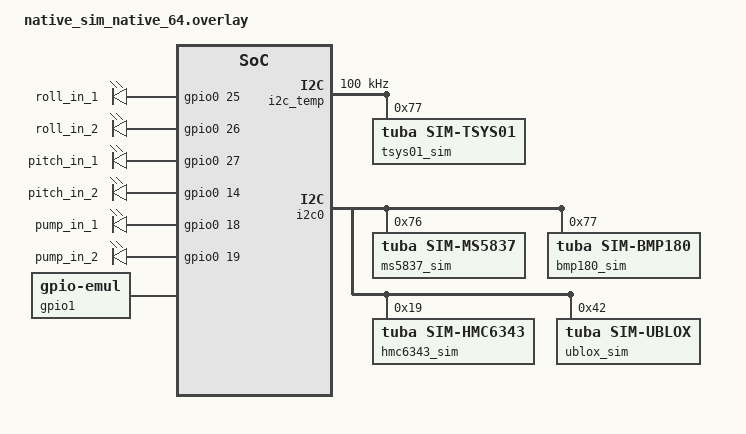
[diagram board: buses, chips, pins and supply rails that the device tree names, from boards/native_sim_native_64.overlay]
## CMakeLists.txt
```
# Tuba underwater glider firmware — Zephyr application build
#
# Build (with MCUboot, from the repo root):
#   west build --sysbuild --board=esp32_devkitc/esp32/procpu
# or use ./build.sh, which also bumps the build number in include/version.h.

cmake_minimum_required(VERSION 3.20.0)
find_package(Zephyr REQUIRED HINTS $ENV{ZEPHYR_BASE})
project(tuba)

# Float args are promoted to double in app_printk(...) calls everywhere;
# the warning adds noise without value here. Must come after find_package.
zephyr_compile_options(-Wno-double-promotion)

target_sources(app PRIVATE
  # Core application
  src/main.c              # boot, WiFi AP + telnet server, state machine loop
  src/ui_menu.c           # menu system: per-state entry/event/line handlers
  src/deploy.c            # mission execution (deploy + simulate) + safety envelope
  src/dive_log.c          # Seaglider-style structured dive records ($STATE/$GC/$D)
  # Infrastructure
  src/app_print.c         # console output mirroring (UART + WiFi clients)
  src/app_params.c        # persistent mission parameters (NVS)
  src/app_time.c          # UTC wall clock (build-date default, GPS-synced)
  src/net_console.c       # WiFi console backend + input-mode switch
  src/sensors.c           # expected-sensor registry + I2C scan report
  # Hardware drivers
  src/hw_motors.c         # pitch/roll mass motors (H-bridge GPIO)
  src/hw_pump.c           # variable-buoyancy pump
  src/hw_limit_switches.c # pitch travel limit switches
  src/hw_ms5837.c         # external (water) pressure + temperature
  src/hw_bmp180.c         # internal (hull) pressure
  src/hw_tsys01.c         # water temperature (Blue Robotics Celsius)
  src/hw_hmc6343.c        # tilt-compensated compass
  src/hw_gps.c            # u-blox GPS over I2C (DDC)
  src/hw_leak.c           # leak detector (ADC)
)

target_include_directories(app PRIVATE include)

if(CONFIG_BOARD_NATIVE_SIM)
  # Software-in-the-loop build (prj_sil.conf, boards/native_sim.overlay):
  # the hardware drivers above run unchanged against Zephyr's emulated
  # GPIO/I2C/ADC, and src/sil/ connects those emulators to the Gazebo
  # bridge over UDP. See SIL.md.
  target_sources(app PRIVATE
    src/sil/sil_state.c        # latest simulated sensor values
    src/sil/sil_link.c         # UDP link: H-bridge pins out, sensor values in
    src/sil/sil_emul_ms5837.c  # emulated I2C sensors ...
    src/sil/sil_emul_bmp180.c
    src/sil/sil_emul_hmc6343.c
    src/sil/sil_emul_tsys01.c
    src/sil/sil_emul_ublox.c
    src/sil/ota_stub.c         # OTA menu entry: not available in the simulator
    src/sil/sil_console.c      # printk straight to the terminal (menu prompts, 'q' keys)
  )
  target_include_directories(app PRIVATE src/sil)
  # The host glibc hides strnlen() & co. behind feature macros under -std=c11.
  target_compile_definitions(app PRIVATE _POSIX_C_SOURCE=200809L)
  # Xtensa (ESP32) has unsigned char; x86 has signed char. With a signed
  # char, cbprintf's output callback returns a negative value for the first
  # byte of any UTF-8 character (e.g. the em dashes in our messages) and
  # drops the rest of the line. Match the target's semantics.
  zephyr_compile_options(-funsigned-char)
else()
  target_sources(app PRIVATE
    src/ota_simple.c        # OTA firmware download into MCUboot slot1
  )
endif()

# Force-include prototypes for app_printk so all sources see it
target_compile_options(app PRIVATE -include app_print.h)
```

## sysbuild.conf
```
# Build MCUboot alongside the application
SB_CONFIG_BOOTLOADER_MCUBOOT=y
```

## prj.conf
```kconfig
# prj.conf — Tuba glider firmware configuration
#
# Field access:
#   Serial:  screen /dev/ttyUSB0 9600   (or minicom -D /dev/ttyUSB0 -b 9600)
#   WiFi:    join AP "Tuba-Glider", then: telnet 192.168.4.1 23
#
# Power-up behavior:
#   Press ENTER within the startup window (STARTUP_TIMEOUT_SEC in
#   app_limits.h, currently 600 s) to get the menu; otherwise the glider
#   auto-enters DEPLOYED and starts a mission.

# ===== CONSOLE =====
# UART0 console via USB bridge at 9600 baud (set in the board overlay;
# 9600 tolerates long/noisy cable runs into the hull).
CONFIG_SERIAL=y
CONFIG_CONSOLE=y
CONFIG_PRINTK=y
CONFIG_UART_CONSOLE=y

# ===== WIFI ACCESS POINT ("Tuba-Glider") =====
CONFIG_NETWORKING=y
CONFIG_WIFI=y
CONFIG_WIFI_USAGE_MODE_AP=y
CONFIG_NET_L2_WIFI_MGMT=y
CONFIG_NET_SOCKETS=y
CONFIG_NET_L2_ETHERNET=y
CONFIG_NET_IPV4=y
CONFIG_NET_UDP=y
CONFIG_NET_TCP=y
CONFIG_NET_DHCPV4=y
# DHCPv4 SERVER: hand out IPs to clients that join the AP (required for telnet)
CONFIG_NET_DHCPV4_SERVER=y
CONFIG_NET_ARP=y
# TCP keepalive: lets the telnet server detect a client whose link vanished
# (antenna dipped under water) in ~25 s instead of waiting out TCP's default
# retransmit timeout. Tuned per-socket in src/main.c.
CONFIG_NET_TCP_KEEPALIVE=y
# poll() set for the telnet server: 1 listening socket + NET_CONSOLE_MAX_CLIENTS.
CONFIG_NET_SOCKETS_POLL_MAX=8
CONFIG_HEAP_MEM_POOL_SIZE=65536
# DHCP server + net mgmt callbacks run on the system workqueue; the 1K default
# overflows when a client requests a lease (sysworkq stack overflow). Bump it.
CONFIG_SYSTEM_WORKQUEUE_STACK_SIZE=4096
# DHCP server receives/processes leases on the socket-service thread. Zephyr's
# 2400 default (ARM-tuned) overflows on Xtensa/ESP32 -> net_socket_service crash.
CONFIG_NET_SOCKETS_SERVICE_STACK_SIZE=4096

# WiFi power management - DISABLE to prevent AP mode issues
CONFIG_PM=n

# ===== LOGGING / DIAGNOSTICS =====
CONFIG_LOG=y
CONFIG_LOG_MODE_MINIMAL=y
CONFIG_SHELL=n
CONFIG_ASSERT=y
CONFIG_STDOUT_CONSOLE=y
# Thread/stack diagnostics (names in fault dumps, stack canaries)
CONFIG_THREAD_NAME=y
CONFIG_STACK_SENTINEL=y

# ===== SENSOR BUS =====
CONFIG_I2C=y
CONFIG_I2C_ESP32=y
CONFIG_SENSOR=y
# ADC for the leak detector (GPIO34 = ADC1 CH6)
CONFIG_ADC=y
# MS5837/TSYS01/BMP180/HMC6343/GPS all use custom register-level drivers in
# src/hw_*.c, not Zephyr sensor drivers (finer control over the flaky ESP32
# I2C controller and sensor quirks).

# Float formatting for printk (depth/temperature output)
CONFIG_CBPRINTF_FP_SUPPORT=y
CONFIG_MAIN_STACK_SIZE=3072

# ===== PARAMETER PERSISTENCE (NVS via settings) =====
CONFIG_FLASH=y
CONFIG_FLASH_MAP=y
CONFIG_FLASH_PAGE_LAYOUT=y
CONFIG_MPU_ALLOW_FLASH_WRITE=y
CONFIG_CRC=y
CONFIG_NVS=y
CONFIG_SETTINGS=y
CONFIG_SETTINGS_NVS=y

# ===== OVER-THE-AIR (OTA) UPDATE =====
# Socket-based HTTP download into MCUboot slot1 (see src/ota_simple.c)
CONFIG_HTTP_CLIENT=y
CONFIG_BOOTLOADER_MCUBOOT=y
CONFIG_IMG_MANAGER=y
CONFIG_MCUBOOT_IMG_MANAGER=y
CONFIG_STREAM_FLASH=y
```

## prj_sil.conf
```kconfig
# prj_sil.conf — Tuba firmware as a Linux process (software-in-the-loop)
#
# Build:  ./sil_build.sh        (west build -b native_sim/native/64 -- -DCONF_FILE=prj_sil.conf)
# Run:    ./sil_run.sh          (with Gazebo + tuba-sim/bridge running)
#
# Everything the ESP32 build has except WiFi/OTA/MCUboot; the hardware is
# replaced by Zephyr's emulated GPIO/I2C/ADC, driven from Gazebo through
# src/sil/ (see SIL.md). The menu runs on the terminal that starts the
# executable.

# ===== CONSOLE (terminal stdin/stdout) =====
CONFIG_SERIAL=y
CONFIG_CONSOLE=y
CONFIG_PRINTK=y
CONFIG_UART_CONSOLE=y
CONFIG_UART_NATIVE_PTY=y
CONFIG_UART_NATIVE_PTY_0_ON_STDINOUT=y
# native_sim hard-selects the line-buffered POSIX trace console; src/sil/
# sil_console.c re-points printk at the UART so prompts show immediately.
CONFIG_CBPRINTF_FP_SUPPORT=y

# ===== LOGGING / DIAGNOSTICS =====
CONFIG_LOG=y
CONFIG_LOG_MODE_MINIMAL=y
CONFIG_SHELL=n
CONFIG_ASSERT=y
CONFIG_THREAD_NAME=y
CONFIG_MAIN_STACK_SIZE=8192

# ===== EMULATED HARDWARE =====
CONFIG_EMUL=y
CONFIG_GPIO=y
CONFIG_GPIO_EMUL=y
CONFIG_I2C=y
CONFIG_I2C_EMUL=y
CONFIG_ADC=y
CONFIG_ADC_EMUL=y
CONFIG_ENTROPY_GENERATOR=y
CONFIG_TEST_RANDOM_GENERATOR=y

# ===== PARAMETER PERSISTENCE (NVS on the simulated flash) =====
# Pass --flash=<file> to the executable to keep parameters between runs.
CONFIG_FLASH=y
CONFIG_FLASH_SIMULATOR=y
CONFIG_FLASH_MAP=y
CONFIG_FLASH_PAGE_LAYOUT=y
CONFIG_CRC=y
CONFIG_NVS=y
CONFIG_SETTINGS=y
CONFIG_SETTINGS_NVS=y

# ===== SIM LINK: host UDP sockets through the native-simulator offload =====
CONFIG_NETWORKING=y
CONFIG_NET_IPV4=y
CONFIG_NET_IPV6=n
CONFIG_NET_DRIVERS=y
CONFIG_ETH_NATIVE_TAP=n
CONFIG_NET_SOCKETS=y
CONFIG_NET_SOCKETS_OFFLOAD=y
CONFIG_NET_NATIVE_OFFLOADED_SOCKETS=y
CONFIG_HEAP_MEM_POOL_SIZE=16384
```

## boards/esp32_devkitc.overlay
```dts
/
{
    aliases {
        roll_in1 = &roll_in1;
        roll_in2 = &roll_in2;
        pitch_in1 = &pitch_in1;
        pitch_in2 = &pitch_in2;
        pump_in1 = &pump_in1;
        pump_in2 = &pump_in2;
    };

    /* Motor H-bridge control pins (adjust to your wiring) */
    roll_in1: roll_in1 {
        gpios = <&gpio 25 GPIO_ACTIVE_HIGH>;
    };
    roll_in2: roll_in2 {
        gpios = <&gpio 26 GPIO_ACTIVE_HIGH>;
    };
    pitch_in1: pitch_in1 {
        gpios = <&gpio 27 GPIO_ACTIVE_HIGH>;
    };
    pitch_in2: pitch_in2 {
        gpios = <&gpio 14 GPIO_ACTIVE_HIGH>;
    };

    /* Pump control pins (adjust to your wiring) */
    pump_in1: pump_in1 {
        gpios = <&gpio 33 GPIO_ACTIVE_HIGH>;
    };
    pump_in2: pump_in2 {
        gpios = <&gpio 32 GPIO_ACTIVE_HIGH>;
    };
};
```

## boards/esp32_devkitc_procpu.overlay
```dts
/ {
	chosen {
		zephyr,console = &uart0;
		zephyr,shell-uart = &uart0;
	};

	aliases {
		/* Motors - GPIO control (hyphens in DTS, converted to underscores in C via DT_ALIAS) */
		roll-in-1 = &roll_in_1;
		roll-in-2 = &roll_in_2;
		pitch-in-1 = &pitch_in_1;
		pitch-in-2 = &pitch_in_2;
		pump-in-1 = &pump_in_1;
		pump-in-2 = &pump_in_2;
		i2c0 = &i2c0;
	};
};

/* ===== UART CONFIGURATION ===== */

/* UART0: USB bridge console (TX=GPIO1, RX=GPIO3) - 9600 baud for long cable runs */
&uart0 {
	status = "okay";
	current-speed = <9600>;
};

/* UART1: Avoid using GPIO9/10 (SPI flash pins) */
&uart1 {
	status = "disabled";
};

/* UART2: disabled — GPS is read over I2C (DDC) and the old console-mirror
   code is gone, so it is unused. */
&uart2 {
	status = "disabled";
};

/* ===== I2C CONFIGURATION ===== */
/* I2C0 on GPIO21(SDA)/GPIO22(SCL): main sensor bus
   (MS5837 @0x76, BMP180 @0x77, HMC6343 @0x19, u-blox GPS @0x42) */
&i2c0 {
	status = "okay";
	clock-frequency = <100000>; /* 100kHz */
	ms5837_0: ms5837@76 {
		compatible = "meas,ms5837";
		reg = <0x76>;
		status = "okay";
	};
};

/* I2C1 (the SoC's second HARDWARE I2C controller): left disabled.
   GPIO16/17 (its natural pins) are marked gpio-reserved-ranges in Zephyr's
   own SoC devicetree for this board (alongside 6-11, 20, 24, 28-31) — the
   selected SoC variant assumes a WROVER-E module with PSRAM wired to
   those exact pins. Using them for anything else is a real resource
   conflict, not a timing issue: the GPIO framework itself rejects them
   ("Unsupported pin" assertion) the moment a driver tries to configure
   GPIO16/17 as plain GPIOs. The water-temperature bus below uses
   different, unreserved pins instead. */
&i2c1 {
	status = "disabled";
};

/* Water-temperature bus: software (bit-banged) I2C on GPIO4(SDA)/
   GPIO13(SCL) — free, non-reserved, non-strapping pins — driven as plain
   GPIOs by Zephyr's generic "gpio-i2c" driver rather than the SoC's
   second hardware I2C peripheral (see note above for why i2c1/GPIO16-17
   are off the table). The TSYS01 (Blue Robotics Celsius) lives on its own
   bus because its address (0x77) collides with the BMP180 on i2c0.
   Internal pull-ups are enabled; add external 4.7k pull-ups to 3.3V for
   long/wet cable runs. */
/ {
	i2c_temp: i2c-gpio-temp {
		compatible = "gpio-i2c";
		status = "okay";
		#address-cells = <1>;
		#size-cells = <0>;
		clock-frequency = <100000>; /* 100kHz */
		sda-gpios = <&gpio0 4 (GPIO_OPEN_DRAIN | GPIO_PULL_UP)>;
		scl-gpios = <&gpio0 13 (GPIO_OPEN_DRAIN | GPIO_PULL_UP)>;
	};
};

&gpio0 {
	status = "okay";
};


/* ===== GPIO Motor Control Pins ===== */

/ {
	motor_gpios: motor-gpios {
		compatible = "gpio-leds";

		roll_in_1: roll-in-1 {
			gpios = <&gpio0 25 GPIO_ACTIVE_HIGH>;
		};
		roll_in_2: roll-in-2 {
			gpios = <&gpio0 26 GPIO_ACTIVE_HIGH>;
		};
		pitch_in_1: pitch-in-1 {
			gpios = <&gpio0 27 GPIO_ACTIVE_HIGH>;
		};
		pitch_in_2: pitch-in-2 {
			gpios = <&gpio0 14 GPIO_ACTIVE_HIGH>;
		};
		pump_in_1: pump-in-1 {
			gpios = <&gpio0 18 GPIO_ACTIVE_HIGH>;
		};
		pump_in_2: pump-in-2 {
			gpios = <&gpio0 19 GPIO_ACTIVE_HIGH>;
		};
	};
};

/* ===== WiFi Configuration ===== */

&wifi {
	status = "okay";
};

/* ===== ADC for leak detector ===== */
/* adc0 = ESP32 ADC unit 1 (GPIO32-39); safe with WiFi active.
 * Connect leak sensor signal to GPIO34 (ADC1 CH6). */
&adc0 {
	status = "okay";
};
```

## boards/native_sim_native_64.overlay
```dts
/*
 * native_sim.overlay — Tuba firmware as a Linux process (software-in-the-loop)
 *
 * Mirrors the ESP32 board overlay onto Zephyr's emulated peripherals so
 * that every hw_*.c driver compiles and runs UNCHANGED:
 *
 *   motor H-bridge pins  -> gpio0 (zephyr,gpio-emul), same pin numbers
 *   pitch limit switches -> gpio1 pins 0/1 (hw_limit_switches.c expects gpio1)
 *   i2c0 sensors         -> zephyr,i2c-emul-controller + src/sil emulators
 *   i2c_temp (TSYS01)    -> a second emulated I2C controller
 *   leak detector ADC    -> adc0 (zephyr,adc-emul) channel 6, 1.1 V reference
 *
 * src/sil/sil_link.c reads the emulated outputs and drives the emulated
 * inputs from the Gazebo bridge.
 */
#include <zephyr/dt-bindings/i2c/i2c.h>
#include <zephyr/dt-bindings/gpio/gpio.h>

/ {
	chosen {
		zephyr,console = &uart0;
		zephyr,shell-uart = &uart0;
	};

	aliases {
		roll-in-1 = &roll_in_1;
		roll-in-2 = &roll_in_2;
		pitch-in-1 = &pitch_in_1;
		pitch-in-2 = &pitch_in_2;
		pump-in-1 = &pump_in_1;
		pump-in-2 = &pump_in_2;
		i2c0 = &i2c0;
	};

	/* Same GPIO numbers as the ESP32 (GPIO25/26 roll, 27/14 pitch, 18/19 pump). */
	motor_gpios: motor-gpios {
		compatible = "gpio-leds";
		roll_in_1: roll-in-1 { gpios = <&gpio0 25 GPIO_ACTIVE_HIGH>; };
		roll_in_2: roll-in-2 { gpios = <&gpio0 26 GPIO_ACTIVE_HIGH>; };
		pitch_in_1: pitch-in-1 { gpios = <&gpio0 27 GPIO_ACTIVE_HIGH>; };
		pitch_in_2: pitch-in-2 { gpios = <&gpio0 14 GPIO_ACTIVE_HIGH>; };
		pump_in_1: pump-in-1 { gpios = <&gpio0 18 GPIO_ACTIVE_HIGH>; };
		pump_in_2: pump-in-2 { gpios = <&gpio0 19 GPIO_ACTIVE_HIGH>; };
	};

	/* ESP32 "gpio1" port (GPIO32-39): the limit switches are pins 0 and 1. */
	gpio1: gpio_emul_1 {
		status = "okay";
		compatible = "zephyr,gpio-emul";
		rising-edge;
		falling-edge;
		high-level;
		low-level;
		gpio-controller;
		ngpios = <8>;
		#gpio-cells = <2>;
	};

	/* Water-temperature bus (bit-banged GPIO4/13 on the ESP32). */
	i2c_temp: i2c@900 {
		status = "okay";
		compatible = "zephyr,i2c-emul-controller";
		clock-frequency = <I2C_BITRATE_STANDARD>;
		#address-cells = <1>;
		#size-cells = <0>;
		#forward-cells = <1>;
		reg = <0x900 4>;

		tsys01_sim: tsys01@77 {
			compatible = "tuba,sim-tsys01";
			reg = <0x77>;
			status = "okay";
		};
	};
};

&gpio0 {
	ngpios = <32>;
};

/* Main sensor bus: MS5837 @0x76, BMP180 @0x77, HMC6343 @0x19, u-blox @0x42 */
&i2c0 {
	status = "okay";

	ms5837_sim: ms5837@76 {
		compatible = "tuba,sim-ms5837";
		reg = <0x76>;
		status = "okay";
	};
	bmp180_sim: bmp180@77 {
		compatible = "tuba,sim-bmp180";
		reg = <0x77>;
		status = "okay";
	};
	hmc6343_sim: hmc6343@19 {
		compatible = "tuba,sim-hmc6343";
		reg = <0x19>;
		status = "okay";
	};
	ublox_sim: gps@42 {
		compatible = "tuba,sim-ublox";
		reg = <0x42>;
		status = "okay";
	};
};

/* hw_leak.c: channel 6, ADC_REF_INTERNAL = 1100 mV, gain 1/4, 12 bit */
&adc0 {
	nchannels = <8>;
	ref-internal-mv = <1100>;
};
```

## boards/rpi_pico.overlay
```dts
/ {
	chosen {
		/* ===== CONSOLE OUTPUT SELECTION ===== */
		
		/* Option 1: USB CDC ACM console (default for Pico/Pico W) */
		 zephyr,console    = &cdc_acm_uart; 
		 zephyr,shell-uart = &cdc_acm_uart;
		
		/* Option 2: UART0 console via MAX3232 (uncomment to use) */
		/* zephyr,console    = &uart0; */
		/* zephyr,shell-uart = &uart0; */
		
		/* Option 3: WiFi socket console (Pico W only - no devicetree change needed) */
		/* Just enable CONFIG_WIFI_CYWIP in prj.conf, no console entry needed */
		
		/* ===================================== */
		 
		/* NVS storage partition */
		zephyr,settings-partition = &storage_partition;
	};	aliases {
		/* Motors */
		roll-in1 = &roll_in1;
		roll-in2 = &roll_in2;
		pitch-in1 = &pitch_in1;
		pitch-in2 = &pitch_in2;
		/* Pump */
		pump-in1 = &pump_in1;
		pump-in2 = &pump_in2;


	};
};

/* ===== CONSOLE CONFIGURATION ===== */
/* Option 1: UART0 via MAX3232 (GP0/GP1) */
/*
&uart0 {
	status = "okay";
	current-speed = <9600>;
};
*/

/* Option 2: USB CDC ACM (uncomment when using USB console) */

&zephyr_udc0 {
	cdc_acm_uart: cdc_acm_uart {
		compatible = "zephyr,cdc-acm-uart";
	};
};

/* ================================= */





&pinctrl {
    i2c0_default: i2c0_default {
        group1 {
            /* I2C0 on RP2040: GP4 = SDA0, GP5 = SCL0 */
            pinmux = <I2C0_SDA_P4>, <I2C0_SCL_P5>;
            input-enable;
            bias-pull-up;
        };
    };
    i2c0_sleep: i2c0_sleep {
        group1 {
            pinmux = <I2C0_SDA_P4>, <I2C0_SCL_P5>;
            input-enable;
            bias-pull-up;
        };
    };

    i2c1_default: i2c1_default {
        group1 {
            /* I2C1 on RP2040: GP2 = SDA1, GP3 = SCL1 */
            pinmux = <I2C1_SDA_P2>, <I2C1_SCL_P3>;
            input-enable;
            bias-pull-up;
        };
    };
    i2c1_sleep: i2c1_sleep {
        group1 {
            pinmux = <I2C1_SDA_P2>, <I2C1_SCL_P3>;
            input-enable;
            bias-pull-up;
        };
    };
};

&i2c1 {
    status = "okay";
    clock-frequency = <I2C_BITRATE_STANDARD>;
    /* attach the pinctrl groups */
    pinctrl-0 = <&i2c1_default>;
    pinctrl-1 = <&i2c1_sleep>;
    pinctrl-names = "default", "sleep";

    
};

/* GPIO-backed pins for motors & pump (H-bridge inputs) */
&gpio0 {
	status = "okay";
};

&{/} {
	vma409_pins: gpio-leds {
		compatible = "gpio-leds";

		/* ----- ROLL (Motor A) ----- */
		roll_in1: roll_in1 { gpios = <&gpio0 20  GPIO_ACTIVE_HIGH>; label = "roll_in1"; };
		roll_in2: roll_in2 { gpios = <&gpio0 21  GPIO_ACTIVE_HIGH>; label = "roll_in2"; };/* 
		

		/* ----- PITCH (Motor B) ----- */
		pitch_in1: pitch_in1 { gpios = <&gpio0 18  GPIO_ACTIVE_HIGH>;  label = "pitch_in1"; };
		pitch_in2: pitch_in2 { gpios = <&gpio0 19 GPIO_ACTIVE_HIGH>;  label = "pitch_in2"; };/* 
		

		/* ----- PUMP (ZK-BM1 inputs) ----- */
		pump_in1: pump_in1 { gpios = <&gpio0 26 GPIO_ACTIVE_HIGH>; label = "pump_in1"; };
		pump_in2: pump_in2 { gpios = <&gpio0 27 GPIO_ACTIVE_HIGH>; label = "pump_in2"; };
	};
};


&pinctrl {
    i2c0_default: i2c0_default {
        group1 {
            /* I2C0 on RP2040: GP4 = SDA0, GP5 = SCL0 */
            pinmux = <I2C0_SDA_P4>, <I2C0_SCL_P5>;
            input-enable;
            bias-pull-up;
        };
    };
    i2c0_sleep: i2c0_sleep {
        group1 {
            pinmux = <I2C0_SDA_P4>, <I2C0_SCL_P5>;
            input-enable;
            bias-pull-up;
        };
    };

    i2c1_default: i2c1_default {
        group1 {
            /* I2C1 on RP2040: GP2 = SDA1, GP3 = SCL1 */
            pinmux = <I2C1_SDA_P2>, <I2C1_SCL_P3>;
            input-enable;
            bias-pull-up;
        };
    };
    i2c1_sleep: i2c1_sleep {
        group1 {
            pinmux = <I2C1_SDA_P2>, <I2C1_SCL_P3>;
            input-enable;
            bias-pull-up;
        };
    };
};

&i2c0 {
    status = "okay";
    clock-frequency = <I2C_BITRATE_STANDARD>;
    pinctrl-0 = <&i2c0_default>;
    pinctrl-1 = <&i2c0_sleep>;
    pinctrl-names = "default", "sleep";
    
    ms5837: ms5837@76 {
        compatible = "meas,ms5837-30ba";
        reg = <0x76>;
        status = "okay";
    };
};




&uart1 {
    status = "okay";
    current-speed = <9600>;
    pinctrl-0 = <&uart1_default>;
    pinctrl-names = "default";
};

&pinctrl {


    /* Configuration for uart1 "default" state */
    uart1_default: uart1_default {
        group1 {
            pinmux = <UART1_TX_P8>;
        };
        group2 {
            pinmux = <UART1_RX_P9>;
            input-enable;
        };
    };
};


&flash0 {
    partitions {
        compatible = "fixed-partitions";
        #address-cells = <1>;
        #size-cells = <1>;

        /* Boot stage2 at 0x10000000 - 0x10000100 (256 bytes, RP2040 bootloader) */
        /* Application code starts after boot_stage2 */
        
        /* Code partition: reserve 1920KB for application (0x00000000 - 0x001E0000) */
        slot0_partition: partition@0 {
            label = "image-0";
            reg = <0x00000000 0x001E0000>;
        };

        /* Storage partition: 64KB right after code (0x001E0000 - 0x001F0000) */
        /* This should be preserved if you flash only the UF2 to slot0 */
        storage_partition: partition@1e0000 {
            label = "storage";
            reg = <0x001E0000 0x00010000>;
        };
        
        /* Remaining 64KB can be used for other purposes if needed */
    };
};
```

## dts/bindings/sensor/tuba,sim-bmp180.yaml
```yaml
# TUBA software-in-the-loop: an I2C device whose behaviour is provided by
# src/sil/sil_emul_bmp180.c on native_sim (no real driver exists; the firmware
# talks to it with raw I2C transfers like it does to the real chip).
description: Simulated BMP180 hull pressure sensor (TUBA SIL)

compatible: "tuba,sim-bmp180"

include: i2c-device.yaml
```

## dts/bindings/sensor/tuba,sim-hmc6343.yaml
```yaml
# TUBA software-in-the-loop: an I2C device whose behaviour is provided by
# src/sil/sil_emul_hmc6343.c on native_sim (no real driver exists; the firmware
# talks to it with raw I2C transfers like it does to the real chip).
description: Simulated HMC6343 compass (TUBA SIL)

compatible: "tuba,sim-hmc6343"

include: i2c-device.yaml
```

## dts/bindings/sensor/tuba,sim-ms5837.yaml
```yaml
# TUBA software-in-the-loop: an I2C device whose behaviour is provided by
# src/sil/sil_emul_ms5837.c on native_sim (no real driver exists; the firmware
# talks to it with raw I2C transfers like it does to the real chip).
description: Simulated MS5837 external pressure sensor (TUBA SIL)

compatible: "tuba,sim-ms5837"

include: i2c-device.yaml
```

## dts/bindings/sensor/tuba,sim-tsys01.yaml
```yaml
# TUBA software-in-the-loop: an I2C device whose behaviour is provided by
# src/sil/sil_emul_tsys01.c on native_sim (no real driver exists; the firmware
# talks to it with raw I2C transfers like it does to the real chip).
description: Simulated TSYS01 water temperature sensor (TUBA SIL)

compatible: "tuba,sim-tsys01"

include: i2c-device.yaml
```

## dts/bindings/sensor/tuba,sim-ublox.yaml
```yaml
# TUBA software-in-the-loop: an I2C device whose behaviour is provided by
# src/sil/sil_emul_ublox.c on native_sim (no real driver exists; the firmware
# talks to it with raw I2C transfers like it does to the real chip).
description: Simulated u-blox GPS over I2C/DDC (TUBA SIL)

compatible: "tuba,sim-ublox"

include: i2c-device.yaml
```

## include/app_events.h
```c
/*
 * app_events.h — State and event identifiers for the UI state machine
 *
 * The firmware is organized around one explicit state machine (see
 * tuba_state_machine.puml for the diagram and README.md for an overview).
 *
 * Two kinds of stimulus drive it:
 *   - complete input lines from either console (dispatched by
 *     ui_handle_line() in ui_menu.c), and
 *   - asynchronous events (timer ticks, timeouts, bare ENTER presses)
 *     delivered through a message queue and dispatched per state.
 *
 * The per-state entry/exit/event handlers live in ui_menu.c and are wired
 * into a dispatch table in main.c — adding a state means adding one enum
 * value here, its handlers in ui_menu.c, and one table row in main.c.
 */
#ifndef APP_EVENTS_H
#define APP_EVENTS_H

#include <zephyr/kernel.h>

/* State IDs */
typedef enum {
    ST_POWERUP_WAIT = 0,  /* boot countdown: ENTER -> menu, timeout -> deploy */
    ST_MENU,              /* top-level menu */
    ST_HWTEST_MENU,       /* hardware test menu */
    ST_SENSORS_MENU,      /* sensor tests (temperature, I2C scan, ...) */
    ST_TEMP_MENU,         /* temperature (TSYS01) self-test/stream menu */
    ST_PARAMS_MENU,       /* mission parameter list */
    ST_PARAM_INPUT,       /* waiting for a new value for one parameter */
    ST_PR_MENU,           /* pitch & roll motor test menu */
    ST_PR_INPUT,          /* waiting for a motor run duration */
    ST_PUMP_INPUT,        /* waiting for a pump run duration */
    ST_LIMIT_TEST,        /* (legacy) limit-switch display state */
    ST_RECOVERY,          /* error hold state; "resume" re-deploys */
    ST_DEPLOYED,          /* mission running (async worker thread) */
    ST_SIMULATE,          /* simulated mission running (async worker) */
    ST_COMPASS_MENU,      /* compass calibrate/stream menu */
    ST_OTA_MENU,          /* waiting for an OTA firmware URL */
    ST__COUNT
} state_id_t;

/* Event IDs (asynchronous stimuli; input lines are delivered separately) */
typedef enum {
    EVT_NONE = 0,
    EVT_TICK,     /* 50 ms UI timer tick (countdown display, polling) */
    EVT_TIMEOUT,  /* startup countdown expired -> auto-deploy */
    EVT_ENTER,    /* user pressed ENTER on an empty line */
} event_id_t;

typedef struct {
    event_id_t id;
} event_t;

#endif /* APP_EVENTS_H */
```

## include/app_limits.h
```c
#ifndef APP_LIMITS_H
#define APP_LIMITS_H

#define STARTUP_TIMEOUT_SEC   600
#define UI_TICK_HZ            1

/* Avoid clashing with libc's LINE_MAX */
#define APP_LINE_MAX          48

/* Input guard for test durations */
#define TEST_MIN_SEC   (-10)
#define TEST_MAX_SEC   (10)

#endif /* APP_LIMITS_H */
```

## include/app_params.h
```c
/*
 * app_params.h — Mission parameters, persisted in flash (NVS/settings)
 *
 * One flat struct holds every user-adjustable parameter. It is loaded from
 * NVS at boot, edited through the PARAMETERS menu, and written back only
 * when the user selects "save" (so experiments are cheap to abandon).
 *
 * NOTE ON LAYOUT: the struct is stored as a raw blob. Changing its size or
 * field order invalidates the stored copy — the loader detects the size
 * mismatch and falls back to compiled-in defaults (a re-save is then
 * required). Add new fields at the end.
 */
#ifndef APP_PARAMS_H
#define APP_PARAMS_H

#include <stdint.h>

struct app_params {
    /* --- Dive profile --- */
    float    dive_depth_m;         /* target depth per dive cycle [m] */
    uint16_t dive_timeout_min;     /* abort dive and climb after this [min] */
    uint16_t dive_pump_s;          /* pump position for diving [s from zero] */
    uint16_t deploy_wait_s;        /* surface wait before the first dive [s] */
    uint16_t start_pump_s;         /* pump position at the surface [s] */
    uint16_t climb_pump_s;         /* pump position for climbing [s] */

    /* --- Pitch mass positions (seconds of motor travel from zero) --- */
    uint16_t start_pitch_s;        /* surface/neutral pitch position */
    uint16_t surface_pitch_s;      /* pitch used while surfaced */
    uint16_t dive_pitch_s;         /* nose-down position for diving */
    uint16_t climb_pitch_s;        /* nose-up position for climbing */

    /* --- Roll mass positions (heading control) --- */
    uint16_t start_roll_s;         /* neutral roll position */
    uint16_t max_roll_s;           /* max bank used for heading correction */
    uint16_t roll_time_s;          /* (reserved) roll actuation time */

    /* --- Navigation --- */
    int16_t  desired_heading_deg;  /* course to hold, 0-359 degrees true */

    /* --- Safety --- */
    uint16_t leak_threshold_mv;    /* leak ADC below this = leak; 0 = monitoring off */

    /* --- Console --- */
    uint8_t  console_input_mode;   /* console_input_mode_t: 0=both 1=UART 2=WiFi */

    /* --- Mission safety envelope (Seaglider $T_MISSION / $D_ABORT style) ---
     *
     * These bound one surface-to-surface cycle. Anything that trips here
     * ends the mission in the RECOVERY POSITION (pump fully out, pitch
     * fully forward) rather than continuing to fly — see deploy.c.
     */
    uint16_t t_mission_min;        /* hard limit on one dive cycle [min]; 0 = off.
                                    * Seaglider $T_MISSION. Half of it is the
                                    * "must be climbing by now" checkpoint. */
    uint16_t max_depth_m;          /* abort above this depth [m]; 0 = off.
                                    * Seaglider $D_ABORT. */
    uint16_t sensor_retries;       /* read attempts before a sensor is declared
                                    * failed (Seaglider retries similarly) */
    uint16_t pump_full_stroke_s;   /* pump travel fully IN -> fully OUT [s];
                                    * the blind stroke used by recovery */
    uint16_t pitch_full_stroke_s;  /* pitch mass travel full aft -> full fwd [s] */
    uint16_t t_rsleep_min;         /* minutes between recovery status reports
                                    * (Seaglider $T_RSLEEP) */
};

/* Load parameters from NVS (or defaults) and apply side effects
 * (e.g. console input mode). Call once at boot. */
int app_params_init(void);

/* Persist the current parameters to NVS. */
int app_params_save(void);

/* Restore compiled-in defaults (RAM only — not saved until "save"). */
void app_params_reset_defaults(void);

/* Access current parameters; pointer is valid for the lifetime of the app. */
struct app_params *app_params_get(void);

#endif /* APP_PARAMS_H */
```

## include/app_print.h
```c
#pragma once
#include <stdarg.h>

#ifdef __cplusplus
extern "C" {
#endif

/* Initialize the mirror output (called automatically) */
int app_print_init(void);

/* App-level printing that goes to console (printk) and mirrors to UART1 */
void app_vprintk(const char *fmt, va_list ap);
void app_printk(const char *fmt, ...);

/* Optional helpers */
int app_puts(const char *s);
int app_putchar(int c);

#ifdef __cplusplus
}
#endif
```

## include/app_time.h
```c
/*
 * app_time.h — System wall-clock time (UTC)
 *
 * The glider has no battery-backed RTC, so wall-clock time is kept in
 * software on top of the Zephyr uptime counter (k_uptime_get()):
 *
 *   wall_time = time_base + (uptime - uptime_at_base)
 *
 * Time sources, in increasing order of trust:
 *   1. Firmware build date (version.h BUILD_DATE) — applied at boot so
 *      timestamps are at least "roughly right" from the first second.
 *   2. GPS — every valid RMC sentence carries UTC time and date; the GPS
 *      driver calls app_time_set_from_gps() on each fix, which re-anchors
 *      the clock to true UTC.
 *
 * All timestamps produced by this module are UTC.
 */
#ifndef APP_TIME_H
#define APP_TIME_H

#include <stdint.h>
#include <stdbool.h>
#include <stddef.h>

/* Where the current wall-clock value came from. */
typedef enum {
    APP_TIME_SRC_NONE = 0,   /* not initialized (should not happen after boot) */
    APP_TIME_SRC_BUILD,      /* firmware build date — approximate */
    APP_TIME_SRC_GPS,        /* synced from a GPS fix — true UTC */
} app_time_source_t;

/* Initialize the clock from the firmware build date (version.h BUILD_DATE).
 * Called once at boot, before anything prints timestamps. */
void app_time_init(void);

/* Re-anchor the clock from a GPS RMC sentence (all fields UTC).
 * year is two-digit NMEA year (e.g. 26 -> 2026). Returns 0 on success,
 * -EINVAL if the fields do not form a valid date/time. */
int app_time_set_from_gps(int hour, int min, int sec,
                          int day, int month, int year2);

/* Current Unix time (seconds since 1970-01-01 UTC). */
int64_t app_time_now(void);

/* Broken-down UTC, for callers that need the fields rather than a string
 * (the dive log formats dates several different ways). */
struct app_time_utc {
    uint16_t year;      /* full year, e.g. 2026 */
    uint8_t  month;     /* 1-12 */
    uint8_t  day;       /* 1-31 */
    uint8_t  hour;      /* 0-23 */
    uint8_t  minute;    /* 0-59 */
    uint8_t  second;    /* 0-59 */
};
void app_time_get(struct app_time_utc *out);

/* Format the current time as "YYYY-MM-DD hh:mm:ss" into buf.
 * buf must be at least APP_TIME_STR_LEN bytes. Returns buf. */
#define APP_TIME_STR_LEN 20
const char *app_time_str(char *buf, size_t buflen);

/* Which source last set the clock (for status displays). */
app_time_source_t app_time_source(void);

/* Short label for the current source: "none" / "build" / "GPS". */
const char *app_time_source_str(void);

#endif /* APP_TIME_H */
```

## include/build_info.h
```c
/* Auto-generated build info - do not edit */
#ifndef BUILD_INFO_H
#define BUILD_INFO_H

#define BUILD_DATE "2026-02-26"
#define BUILD_TIME "21:32:51"
#define BUILD_TIMESTAMP 1772137971

#endif /* BUILD_INFO_H */
```

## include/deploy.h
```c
/*
 * deploy.h — Mission execution API (deploy + simulate)
 *
 * Missions run on a worker thread so the UI stays responsive. Input
 * ownership: the main UI loop reads ALL console input (both UART and
 * WiFi); the worker never polls the consoles itself. When the operator
 * presses ENTER during a mission, the UI forwards it with
 * deploy_notify_enter(), and the worker stops at the next surface window.
 */
#ifndef DEPLOY_H
#define DEPLOY_H
#include <zephyr/kernel.h>
#include <stdbool.h>

/* Run a real mission (blocking; used by the async runner). */
void deploy_start(void);
/* Async deploy runner: spawns a worker thread that runs deploy_start() */
void deploy_start_async(void);
/* Simulated mission: same sequence with synthetic depth (blocking). */
void simulate_start(void);
/* Async simulate runner: spawns a worker thread that runs simulate_start() */
void simulate_start_async(void);
/* Check if external pressure sensor is available */
bool deploy_check_sensor_available(void);
/* Check if deploy is currently running */
bool deploy_is_running(void);
/* Check if simulate is currently running */
bool simulate_is_running(void);

/* Called from the UI when the operator presses ENTER while a mission or
 * simulation is running: requests a stop at the next surface window.
 * Safe to call any time — pressing ENTER mid-dive schedules the stop. */
void deploy_notify_enter(void);

/* True when the last mission ended because a safety guard tripped rather
 * than because the operator stopped it. The glider is then parked in the
 * recovery position and the UI should land in the RECOVERY state. */
bool deploy_aborted(void);

/* Human-readable cause of that abort, or NULL if the mission ended
 * normally. Valid until the next mission starts. */
const char *deploy_abort_reason(void);

#endif
```

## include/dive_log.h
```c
/*
 * dive_log.h — Seaglider-style structured dive records
 *
 * Everything the firmware prints goes to the console *and* to the OpenLog
 * SD recorder, so the OpenLog capture is the glider's raw dive record. The
 * trouble with the old capture is that it was prose: human-readable, but a
 * converter had to guess at it.
 *
 * This module interleaves machine-readable records into the same stream,
 * modelled directly on the Seaglider .log file (see the Seaglider File
 * Formats Manual, ch. 2.1.1). Every structured line starts with '$' in
 * column 0, so a basestation script can pull the dive record out of a
 * capture that also contains menus, banners and [SENS] prose:
 *
 *     grep '^\$' tuba_capture.txt
 *
 * The record set, in the order one dive emits them:
 *
 *   $VERSION,$GLIDER,$MISSION,$DIVE,$START   header, once per dive
 *   $<PARAM>,<value>                         parameter dump (Seaglider style)
 *   $GPS1,...                                fix before the dive
 *   $COLUMNS,...                             names for the $D rows below
 *   $STATE,<elaps>,begin dive                phase transitions
 *   $D,<elaps>,...                           one sampled row per second
 *   $GC,<elaps>,...                          one row per actuator move
 *   $STATE,<elaps>,end dive,<reason>
 *   ...
 *   $GPS2,...                                fix after surfacing
 *   $ERRORS,...                              per-sensor failure counts
 *   $FINISH,<elaps>,<depth_m>                end of dive
 *
 * IMPORTANT — units differ from a real Seaglider. The Seaglider reports
 * actuator positions in cm (pitch), degrees (roll) and cc (VBD), because it
 * has position feedback and a calibration. Tuba dead-reckons in *seconds of
 * motor travel*, so the control columns are named pitchCtl_s / rollCtl_s /
 * vbdCtl_s and carry seconds. Do not feed them to a Seaglider flight model
 * as-is.
 */
#ifndef DIVE_LOG_H
#define DIVE_LOG_H

#include <stdint.h>
#include <stdbool.h>

struct app_params;

/* GC_phase values used in the $D rows (Tuba's own encoding — the Seaglider
 * numbering covers motor sub-phases Tuba does not have). */
enum dive_phase {
    PHASE_SURFACE = 0,
    PHASE_DIVE    = 1,
    PHASE_APOGEE  = 2,   /* dive -> climb actuator swing */
    PHASE_CLIMB   = 3,
    PHASE_RECOVERY = 4,
};

/* Per-dive sensor failure tallies, reported in $ERRORS (Seaglider's
 * $ERRORS line is the same idea: a count per subsystem, so a pilot can see
 * a sensor degrading over a mission before it fails outright). */
struct dive_errors {
    uint16_t ms5837;    /* external pressure (depth) — critical */
    uint16_t bmp180;    /* internal/hull pressure */
    uint16_t tsys01;    /* water temperature */
    uint16_t hmc6343;   /* compass */
    uint16_t gps;       /* fixes not acquired within the timeout */
};

/* Start a new dive record. dive_num is 1-based within this mission.
 * Dumps the full parameter set, exactly like a Seaglider .log, so the
 * capture is self-describing and a converter needs no side-channel. */
void dive_log_header(uint32_t mission_num, uint32_t dive_num,
                     const struct app_params *p, bool simulated);

/* $GPS1 (which=1, before the dive) / $GPS2 (which=2, after surfacing).
 * Position is in decimal degrees; ok=false emits an empty-position record
 * so the converter still sees that a fix was attempted and missed. */
void dive_log_gps(int which, bool ok, double lat_deg, double lon_deg);

/* $STATE,<elaps>,<what>[,<reason>] — phase transitions.
 * `what` is e.g. "begin dive" / "end dive"; `reason` may be NULL. */
void dive_log_state(uint32_t elaps_s, const char *what, const char *reason);

/* $GC,<elaps>,<actuator>,<from_s>,<to_s>,<dir>,<dur_s> — one actuator move.
 * The Seaglider equivalent carries currents and retry counts; Tuba has no
 * current sensing, so the row stops at the commanded motion. */
void dive_log_gc(uint32_t elaps_s, const char *actuator,
                 float from_s, float to_s, int dir, uint32_t dur_s);

/* One sampled data row. temp_ok=false writes NaN for the temperature,
 * matching the Seaglider .asc convention that a missing sample is marked
 * rather than silently zero-filled. */
void dive_log_data(uint32_t elaps_s, double depth_m, float heading_deg,
                   float pitch_deg, float roll_deg,
                   float pitch_ctl_s, float roll_ctl_s, float vbd_ctl_s,
                   enum dive_phase phase, int32_t internal_pa,
                   double water_temp_c, bool temp_ok);

/* $ERRORS + $FINISH — closes the dive record. */
void dive_log_close(uint32_t elaps_s, double depth_m,
                    const struct dive_errors *errs);

#endif /* DIVE_LOG_H */
```

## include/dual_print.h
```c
#pragma once
#include <stdarg.h>

/* Initialize dual print (called automatically via SYS_INIT) */
int dual_print_init_hook(void);

/* Duplicate printk to both UART0 and UART1 */
#ifdef __GNUC__
#define ATTR_PRINTF(fmt_idx, arg_idx) __attribute__((format(printf, fmt_idx, arg_idx)))
#else
#define ATTR_PRINTF(fmt_idx, arg_idx)
#endif

void dup_vprintk(const char *fmt, va_list ap);
void dup_printk(const char *fmt, ...) ATTR_PRINTF(1,2);

/* Redirect only printk calls from this application */
#define printk(...) dup_printk(__VA_ARGS__)

/* Optional helpers if you want explicit dual-printf in your code */
int my_printf(const char *fmt, ...);
int my_puts(const char *s);
int my_putchar(int c);
```

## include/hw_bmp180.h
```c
#ifndef HW_BMP180_H
#define HW_BMP180_H

#include <zephyr/kernel.h>

int bmp180_init(void);
/* Blocks: prints 1 Hz readings until user types 'q' on the console */
void bmp180_stream_interactive(void);
/* Read a single compensated pressure sample (Pa) */
int bmp180_read_pa(int32_t *out_pa);

#endif /* HW_BMP180_H */
```

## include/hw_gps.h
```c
#ifndef HW_GPS_H
#define HW_GPS_H
#include <stdbool.h>

/* Interactive GPS fix: blocks while reading the u-blox GPS (I2C/DDC). 
 * Prints 'V' once/sec until a valid fix, then prints:
 *   A <lat_deg> <lon_deg>
 * or exits early if the user presses 'q'.
 */
void gps_fix_interactive(void);

/* Non-interactive GPS fix for deploy/simulate: 
 * Blocks for up to timeout_sec seconds waiting for a valid fix.
 * Returns true if fix acquired, false on timeout.
 */
bool gps_fix_wait(int timeout_sec);

/* Same as gps_fix_wait(), but also returns the fix position in decimal
 * degrees so the caller can log it (the dive log's $GPS1/$GPS2 lines).
 * out_lat/out_lon may be NULL; they are left untouched on failure. */
bool gps_fix_wait_pos(int timeout_sec, double *out_lat, double *out_lon);

#endif /* HW_GPS_H */
```

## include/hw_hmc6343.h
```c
#ifndef HW_HMC6343_H
#define HW_HMC6343_H
#include <zephyr/kernel.h>
void hmc6343_user_calibrate_interactive(void);
void hmc6343_stream_heading_interactive(void);
/* Non-interactive single-sample read of heading/pitch/roll in degrees. */
int hmc6343_read(float *heading_deg, float *pitch_deg, float *roll_deg);
#endif
```
